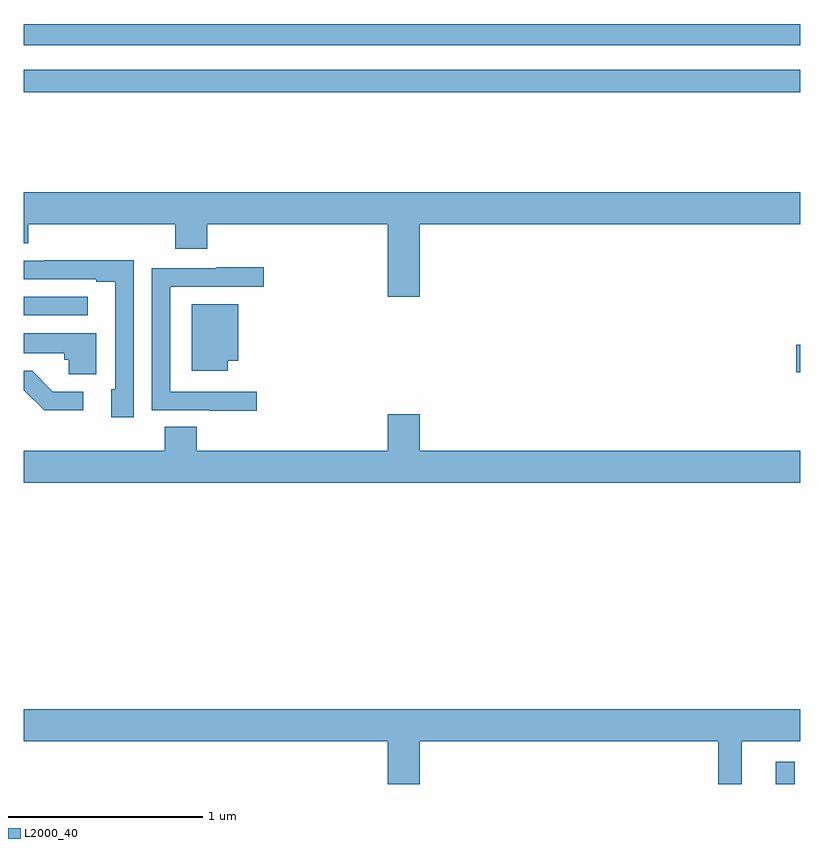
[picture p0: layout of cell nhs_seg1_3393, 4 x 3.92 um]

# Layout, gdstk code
import gdstk
lib = gdstk.Library(unit=1e-6, precision=1e-09)
def R(c, l, rs):  # rectangles x0, y0, x1, y1
    for r in rs: c.add(gdstk.rectangle(r[:2], r[2:], *l))
def P(c, l, *ps):  # polygons
    for p in ps: c.add(gdstk.Polygon(p, *l))
L2000_40 = (2000, 40)

nhs_seg1_3393 = lib.new_cell('nhs_seg1_3393')
R(nhs_seg1_3393, L2000_40, [(298.874,530.199,298.972,530.314), (298.98,532.321,299,532.463), (295,532.614,295.33,532.71), (295,533.764,299,533.88), (295,534.006,299,534.115)])
P(nhs_seg1_3393, L2000_40, [(297.04,533.084),(299,533.084),(299,533.248),(295,533.248),(295,532.985),(295.022,532.985),(295.022,533.084),(295.781,533.084),(295.781,532.956),(295.946,532.956),(295.946,533.084),(296.876,533.084),(296.876,532.71),(297.04,532.71)],
  [(295.566,532.898),(295.105,532.898),(295.105,532.896),(295,532.896),(295,532.8),(295.373,532.8),(295.373,532.788),(295.47,532.788),(295.47,532.233),(295.451,532.233),(295.451,532.089),(295.566,532.089)],
  [(296.2,532.221),(295.755,532.221),(295.755,532.761),(296.236,532.761),(296.236,532.861),(295.991,532.861),(295.991,532.857),(295.659,532.857),(295.659,532.125),(295.955,532.125),(295.955,532.121),(296.2,532.121)],
  [(296.051,532.379),(296.104,532.379),(296.104,532.672),(295.865,532.672),(295.865,532.328),(296.051,532.328)],
  [(295.372,532.522),(295,532.522),(295,532.418),(295.207,532.418),(295.207,532.386),(295.232,532.386),(295.232,532.31),(295.372,532.31)],
  [(295.306,532.221),(295.15,532.221),(295.042,532.329),(295,532.329),(295,532.229),(295.106,532.124),(295.306,532.124)],
  [(299,531.916),(297.04,531.916),(297.04,532.105),(296.876,532.105),(296.876,531.916),(295.892,531.916),(295.892,532.04),(295.727,532.04),(295.727,531.916),(295,531.916),(295,531.752),(299,531.752)],
  [(297.04,530.42),(298.578,530.42),(298.578,530.199),(298.699,530.199),(298.699,530.42),(299,530.42),(299,530.584),(295,530.584),(295,530.42),(296.876,530.42),(296.876,530.199),(297.04,530.199)])

lib.write_gds('nhs_seg1_3393.gds')
